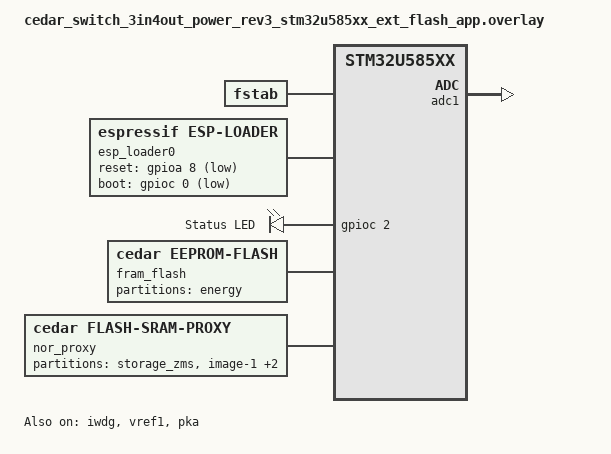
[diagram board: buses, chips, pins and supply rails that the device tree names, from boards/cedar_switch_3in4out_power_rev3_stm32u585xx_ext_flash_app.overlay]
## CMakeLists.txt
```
# SPDX-License-Identifier: Apache-2.0

cmake_minimum_required(VERSION 3.20.0)

#set(BOARD cedar_switch_3in4out_power_rev3/stm32u585xx)
#set(DTC_OVERLAY_FILE /Volumes/LocalData/Programming/CLionProjects/cedar_switch_3i3o_power/boards/cedar_switch_3in4out_power_rev3.overlay)
#add_compile_definitions(CHIP_PROJECT_CONFIG_INCLUDE=</Volumes/LocalData/Programming/CLionProjects/cedar_switch_3i3o_power/src/CHIPProjectConfig.h>)


#list(APPEND BOARD_ROOT ${CMAKE_CURRENT_SOURCE_DIR})

#list(APPEND CHIP_GN_ARGS "chip_skip_app_specific_generated_header_includes=true")
#list(APPEND CHIP_GN_ARGS "chip_device_config_dynamic_endpoint_count=8")

# 2. Добавляем флаги компиляции для твоего приложения (как в твоем примере для ESP)
#add_compile_definitions(CHIP_CONFIG_SKIP_APP_SPECIFIC_GENERATED_HEADER_INCLUDES=1)

# Matter (connectedhomeip) берём из west-воркспейса: <workspace>/modules/lib/matter.
# Корень воркспейса вычисляется из ZEPHYR_BASE (<workspace>/zephyr), без жёстких путей.
# Переопределить можно через -DCHIP_ROOT=<path> или переменную окружения CHIP_ROOT.
# Должно выполняться до find_package(Zephyr), иначе chip-module не подхватится.
if(NOT DEFINED CHIP_ROOT)
    if(DEFINED ENV{CHIP_ROOT})
        set(CHIP_ROOT $ENV{CHIP_ROOT})
    elseif(DEFINED ENV{ZEPHYR_BASE})
        get_filename_component(WEST_TOPDIR $ENV{ZEPHYR_BASE} DIRECTORY)
        set(CHIP_ROOT ${WEST_TOPDIR}/modules/lib/matter)
    else()
        message(FATAL_ERROR "Не задан ни CHIP_ROOT, ни ZEPHYR_BASE. Собирайте через `west build`.")
    endif()
endif()
get_filename_component(CHIP_ROOT "${CHIP_ROOT}" ABSOLUTE)
if(NOT EXISTS ${CHIP_ROOT}/config/zephyr/chip-module/zephyr/module.yml)
    message(FATAL_ERROR "Matter не найден в CHIP_ROOT=${CHIP_ROOT}. Выполните `west update`.")
endif()

list(APPEND ZEPHYR_EXTRA_MODULES ${CHIP_ROOT}/config/zephyr/chip-module)

# Модули приложения внутри репозитория (modules/<name>, у каждого zephyr/module.yml).
# Zephyr сам находит только модули из west-манифеста, поэтому регистрируем явно.
# Должно выполняться до find_package(Zephyr).
list(APPEND ZEPHYR_EXTRA_MODULES
    ${CMAKE_CURRENT_SOURCE_DIR}/modules/settings-registry # Generic per-key settings store over Zephyr Settings (CONFIG_SETTINGS_REGISTRY)
    ${CMAKE_CURRENT_SOURCE_DIR}/modules/job-manager       # Lifecycle and idempotency for long-running web API operations (CONFIG_JOB_MANAGER)
    ${CMAKE_CURRENT_SOURCE_DIR}/modules/device-config-store # Durable, transactional configuration with committed/pending generations (CONFIG_DEVICE_CONFIG_STORE)
    ${CMAKE_CURRENT_SOURCE_DIR}/modules/api-validation  # Shared error codes, rejections and strict parsers for the web API (CONFIG_API_VALIDATION)
    ${CMAKE_CURRENT_SOURCE_DIR}/modules/network-manager  # Validate/journal/apply/confirm transaction for the network configuration (CONFIG_NETWORK_MANAGER)
    ${CMAKE_CURRENT_SOURCE_DIR}/modules/web-auth         # Local administrator: setup, sessions, CSRF, guessing limit (CONFIG_WEB_AUTH)
    ${CMAKE_CURRENT_SOURCE_DIR}/modules/web-api          # API v1 request pipeline, strict JSON, HTTP server adapter (CONFIG_WEB_API)
    ${CMAKE_CURRENT_SOURCE_DIR}/modules/web-assets       # Browser application from flash: MIME, ETag, gzip, cache (CONFIG_WEB_ASSETS)
    ${CMAKE_CURRENT_SOURCE_DIR}/modules/matter-service   # Matter snapshot and commissioning window requests for the web API (CONFIG_MATTER_SERVICE)
    ${CMAKE_CURRENT_SOURCE_DIR}/modules/log-store        # Bounded STM32 and ESP32 log rings, cursor, filters, export (CONFIG_LOG_STORE)
    ${CMAKE_CURRENT_SOURCE_DIR}/modules/zephyr-log-source # Zephyr log backend into log-store (CONFIG_ZEPHYR_LOG_SOURCE)
    ${CMAKE_CURRENT_SOURCE_DIR}/modules/esp32-log-source # C6 UART bytes into log lines (CONFIG_ESP32_LOG_SOURCE)
    ${CMAKE_CURRENT_SOURCE_DIR}/modules/coprocessor-manager # Owner of USART3 and EN/BOOT, UART modes and exclusion (CONFIG_COPROCESSOR_MANAGER)
    ${CMAKE_CURRENT_SOURCE_DIR}/modules/firmware-store   # Staged coprocessor image in LittleFS: chunks, recovery, merged-file check (CONFIG_FIRMWARE_STORE)
    ${CMAKE_CURRENT_SOURCE_DIR}/modules/esp-loader-adapter # esp-serial-flasher session with guaranteed UART/strap cleanup (CONFIG_ESP_LOADER_ADAPTER)
    ${CMAKE_CURRENT_SOURCE_DIR}/modules/coprocessor-updater # UART install of the C6 image as one job, journal, health (CONFIG_COPROCESSOR_UPDATER)
    ${CMAKE_CURRENT_SOURCE_DIR}/modules/system-image-store # STM32 image straight into MCUboot slot 2, MCUboot image check (CONFIG_SYSTEM_IMAGE_STORE)
    ${CMAKE_CURRENT_SOURCE_DIR}/modules/system-updater   # STM32 install through the MCUboot swap, journal, self-confirmation (CONFIG_SYSTEM_UPDATER)
    ${CMAKE_CURRENT_SOURCE_DIR}/modules/psa-driver-stm32 # STM32 PKA: P-256 on the public key accelerator, PSA driver (CONFIG_STM32_PKA)
    ${CMAKE_CURRENT_SOURCE_DIR}/modules/flash-sram-proxy # SPI NOR access from an SRAM thread through an SRAM buffer, for SPI1 DMA (CONFIG_FLASH_SRAM_PROXY)
    ${CMAKE_CURRENT_SOURCE_DIR}/modules/energy-meter     # HLW8032 on USART2, the energy counter in ZMS on the FRAM (CONFIG_ENERGY_METER)
)

# CHIP (src/platform/Zephyr/CHIPDevicePlatformConfig.h) делает #include "autoconf.h",
# а новый Zephyr генерирует его как generated/zephyr/autoconf.h. Отдаём этот каталог
# только GN-сборке CHIP (MATTER_CFLAGS наследуется chip-module через add_subdirectory),
# чтобы не включать глобальный CONFIG_LEGACY_GENERATED_INCLUDE_PATH.
list(APPEND MATTER_CFLAGS "-isystem${CMAKE_BINARY_DIR}/zephyr/include/generated/zephyr")

find_package(Zephyr REQUIRED HINTS $ENV{ZEPHYR_BASE})
project(cedar_switch_3in4out_power)

include(${CHIP_ROOT}/src/app/chip_data_model.cmake)


zephyr_include_directories(
        src
#        src/matter
#        src/app-firmware-updater/*.c
)

# CHIP-заголовки, подключаемые из src/matter/*.cpp, делают #include "autoconf.h"
# (см. MATTER_CFLAGS выше — там то же самое для GN-сборки libCHIP). Только для app.
target_include_directories(app SYSTEM PRIVATE ${ZEPHYR_BINARY_DIR}/include/generated/zephyr)

# add al files by mask
file(GLOB app_sources
        src/lib-init/*.c
        src/config/*.c
    )

target_sources(app PRIVATE
        src/main.c
        src/test_functions.c # to delete
        src/littlefs/filesystem_helpers.c
        src/zbus_topics.c
        src/msgq_topiks.c
        src/web/web_server.c
        src/web/api/v1/router.c
        src/web/api/v1/auth.c
        src/web/api/v1/system.c
        src/web/api/v1/matter.c
        src/web/api/v1/network.c
        src/web/api/v1/logs.c
        src/web/api/v1/coprocessor.c
        src/web/api/v1/firmware.c
        src/web/api/v1/system_update.c
        src/mqtt/ha_mqtt.c
        src/mqtt/ha_mqtt_callback.c
        src/mqtt/ha_mqtt_helpers.c
        src/mqtt/ha_mqtt_adapter.c
        src/mqtt/ha_task.c
        src/littlefs/littlefs_mount.c
        src/io/io.c
        src/io/status_led.c
        src/mqtt/mqtt_settings_keys.c
        src/diagnostic/diag_report.c
        src/diagnostic/storage_bench.c
        src/diagnostic/coredump_support.c
        src/diagnostic/xip_bus_test.c
        src/diagnostic/vdd_monitor.c
        src/diagnostic/lfs_bench.c
        src/plugin_wifi/wifi.c
        src/plugin_wifi/wifi_shell.c
        src/app-firmware-updater/firmware_updater.c
        src/app-firmware-updater/firmware_updater_shell.c
        src/helpers/memory.c
        src/events/events.c
        src/matter/matter_init.cpp
        src/matter/matter_service_chip.cpp
        src/matter/matter_event_loop.cpp
        src/matter/shell.cpp
        src/matter/crypto_bench.cpp
        src/matter/clusters/IdentifyCluster.cpp
        src/matter/clusters/NetworkCommissioningCluster.cpp
#        src/lib-init/net_init.c
        ${app_sources}
#        /Users/kiro/zephyrproject/modules/hal/stm32/stm32cube/stm32u5xx/drivers/src/stm32u5xx_hal_icache.c
)

# Network service (P4): adapter, store, recovery rule and worker.
add_subdirectory(src/services/network)
# Coprocessor service (P5): USART3 owner's platform, CDC passthrough, ESP32 logs.
add_subdirectory(src/services/coprocessor)
# System service (STM32 update): MCUboot slots, reset cause, IWDG, `sysupd` shell.
add_subdirectory(src/services/system)

#chip_configure_data_model(app
#        ZAP_FILE ${CHIP_ROOT}/examples/chef/devices/rootnode_onoffpluginunit_Wtf8ss5EBY.zap
#)

chip_configure_data_model(app
        ZAP_FILE ${CMAKE_CURRENT_SOURCE_DIR}/src/matter/cedar_switch_4relay.zap
        IDL ${CMAKE_CURRENT_SOURCE_DIR}/src/matter/cedar_switch_4relay.matter
        ZCL_PATH ${CHIP_ROOT}/src/app/zap-templates/zcl/zcl.json
)
# Include dir with generated files
set(gen_dir ${ZEPHYR_BINARY_DIR}/include/generated)

# ------------------ Browser application and revision ------------------
# The frontend is built by npm (src/web/frontend, `npm ci && npm run build`)
# and embedded here: tools/web-assets/gen_web_assets.py turns dist/ into a C
# table at build time - the file list is read when the command runs, not when
# CMake configures - and fails the build over the plan's 512 KiB gzip budget.
# A firmware build does not run npm itself: without a built frontend it stops
# and says how to get one, or embeds a placeholder page when asked to.
#
# Both knobs are read with zephyr_get(), so they can be given as -D, as an
# environment variable, or through sysbuild as -D<image>_<name> - sysbuild copies
# its cache into the image's with the prefix intact, and plain option() would
# not see it:
#   APP_WEB_UI_PLACEHOLDER  embed a placeholder page instead of the frontend
#   APP_WEB_DIST            a built frontend somewhere other than the default
zephyr_get(APP_WEB_UI_PLACEHOLDER SYSBUILD LOCAL)
zephyr_get(APP_WEB_DIST SYSBUILD LOCAL)
if(NOT APP_WEB_DIST)
    set(APP_WEB_DIST ${CMAKE_CURRENT_SOURCE_DIR}/src/web/frontend/dist)
endif()
if(APP_WEB_UI_PLACEHOLDER)
    set(web_dist ${CMAKE_CURRENT_SOURCE_DIR}/tools/web-assets/placeholder)
elseif(EXISTS ${APP_WEB_DIST}/index.html)
    set(web_dist ${APP_WEB_DIST})
else()
    message(FATAL_ERROR
        "No built frontend in ${APP_WEB_DIST}.\n"
        "Build it:  cd src/web/frontend && npm ci && npm run build\n"
        "or configure with -DAPP_WEB_UI_PLACEHOLDER=ON for firmware without the interface.")
endif()

set(app_gen_dir ${CMAKE_BINARY_DIR}/generated/app)
set(web_assets_c ${app_gen_dir}/web_assets_data.c)
set(web_assets_manifest ${app_gen_dir}/web_assets_manifest.json)
set(web_assets_gen ${CMAKE_CURRENT_SOURCE_DIR}/tools/web-assets/gen_web_assets.py)
set(web_assets_depends ${web_assets_gen} ${web_dist}/index.html)
if(EXISTS ${web_dist}/.cedar-build.json)
    list(APPEND web_assets_depends ${web_dist}/.cedar-build.json)
endif()
add_custom_command(
    OUTPUT ${web_assets_c} ${web_assets_manifest}
    COMMAND ${PYTHON_EXECUTABLE} ${web_assets_gen}
            --dist ${web_dist}
            --out-c ${web_assets_c}
            --out-manifest ${web_assets_manifest}
            --budget-kib 512
    DEPENDS ${web_assets_depends}
    COMMENT "Embedding the browser application from ${web_dist}"
    VERBATIM
)
target_sources(app PRIVATE ${web_assets_c})

set(cedar_version_h ${app_gen_dir}/cedar_version.h)
add_custom_target(cedar_version
    COMMAND ${CMAKE_COMMAND} -DAPP_DIR=${CMAKE_CURRENT_SOURCE_DIR} -DOUT=${cedar_version_h}
            -P ${CMAKE_CURRENT_SOURCE_DIR}/cmake/cedar_version.cmake
    BYPRODUCTS ${cedar_version_h}
    COMMENT "Recording the application revision"
)
add_dependencies(app cedar_version)
target_include_directories(app PRIVATE ${app_gen_dir})
# ------------------ Browser application and revision END ------------------

generate_inc_file_for_target(
        app
        src/app-firmware-updater/globalsign_r1.der
        ${gen_dir}/globalsign_r1.der.inc
)

zephyr_linker_sources(SECTIONS sections-rom.ld)

# ------------------ PSRAM (OCTOSPI2, окно 0x70000000, регион линкера PSRAM) ------------------
# MCUboot поднимает PSRAM и оставляет её в memory-mapped режиме до прыжка в приложение,
# поэтому .data/.bss/.noinit можно линковать туда штатным zephyr_code_relocate():
# копирование .data и обнуление .bss выполняются в z_prep_c() (arch/common/xip.c, init.c),
# когда окно уже доступно. В SRAM остаются ядро (_kernel, стеки ISR/main/idle, sysworkq),
# arch, драйверы прерываний/таймера/UART (async UART работает через DMA), USB.
if(CONFIG_CODE_DATA_RELOCATION)
    foreach(lib
            app                     # приложение + Matter-исходники из chip_data_model
            subsys__net__ip         # пулы net_pkt/net_buf, очередь net_mgmt, стеки RX/TX
            subsys__net             # сокеты, TLS-контексты
            subsys__net__conn_mgr
            subsys__net__lib__dns
            subsys__net__lib__http
            subsys__fs              # littlefs: кеши файлов, read/prog-буферы
            subsys__zbus)
        if(TARGET ${lib})
            zephyr_code_relocate(LIBRARY ${lib} LOCATION PSRAM_DATA_BSS_NOINIT NOKEEP)
        endif()
    endforeach()
    zephyr_code_relocate(FILES
            ${ZEPHYR_BASE}/subsys/logging/log_core.c                # буфер deferred-логов
            # malloc.c (арена malloc Matter и mbedTLS) — в SRAM с 2026-09-15: остаток SRAM
            # после _end (CONFIG_COMMON_LIBC_MALLOC_ARENA_SIZE=-1), reports/p3/tuning/sram
            ${ZEPHYR_BASE}/kernel/mempool.c                         # куча k_malloc
            ${ZEPHYR_BASE}/drivers/flash/flash_shell.c
            LOCATION PSRAM_DATA_BSS_NOINIT NOKEEP)
endif()
# ------------------ SRAM: горячий код криптографии сопряжения Matter ------------------
# 2026-09-15, по решению владельца (reports/p3/tuning/sram): SPAKE2+, ECDSA, ECDH, SHA-256,
# AES-CCM исполняются из SRAM, а не XIP из внешней флеши через ICACHE. Штатный
# zephyr_code_relocate(RAM_TEXT); MPU-регион RX — CONFIG_CODE_DATA_RELOCATION_SRAM.
# core/psa_crypto*.c gen_relocate_app.py не находит (каталог core, объект в tfpsacrypto.dir) —
# слой диспетчеризации PSA остаётся во флеше; проверять размещение в zephyr.map.
if(CONFIG_CODE_DATA_RELOCATION_SRAM AND CONFIG_TF_PSA_CRYPTO_BUILTIN)
    set(tfpsa ${CONFIG_TF_PSA_CRYPTO_MODULE_DIR})
    set(crypto_hot
            ${tfpsa}/drivers/builtin/src/bignum.c
            ${tfpsa}/drivers/builtin/src/bignum_core.c
            ${tfpsa}/drivers/builtin/src/bignum_mod.c
            ${tfpsa}/drivers/builtin/src/bignum_mod_raw.c
            ${tfpsa}/drivers/builtin/src/ecp.c
            ${tfpsa}/drivers/builtin/src/ecp_curves.c
            ${tfpsa}/drivers/builtin/src/ecp_curves_new.c
            ${tfpsa}/drivers/builtin/src/ecdsa.c
            ${tfpsa}/drivers/builtin/src/sha256.c
            ${tfpsa}/drivers/builtin/src/aes.c
            ${tfpsa}/drivers/builtin/src/ccm.c
            ${tfpsa}/drivers/builtin/src/block_cipher.c
            ${tfpsa}/drivers/builtin/src/psa_crypto_ecp.c
            ${tfpsa}/drivers/builtin/src/psa_crypto_hash.c
            ${tfpsa}/drivers/builtin/src/psa_crypto_mac.c
            ${tfpsa}/drivers/builtin/src/psa_crypto_aead.c
            ${tfpsa}/drivers/builtin/src/psa_util_internal.c
            ${tfpsa}/extras/md.c
            ${tfpsa}/utilities/constant_time.c
            ${tfpsa}/platform/platform_util.c)
    if(CONFIG_MBEDTLS_PSA_P256M_DRIVER_ENABLED)
        list(APPEND crypto_hot
                ${tfpsa}/drivers/p256-m/p256-m/p256-m.c
                ${tfpsa}/drivers/p256-m/p256-m_driver_entrypoints.c)
    endif()
    zephyr_code_relocate(FILES ${crypto_hot} LOCATION RAM_TEXT NOKEEP)
endif()

# ------------------ SRAM: путь SPI NOR (SPI1 + DMA) ------------------
# 2026-09-19 (reports/littlefs-speed): мелкая операция с NOR через DMA стоила ~0,8 мс —
# настройка DMA, прерывание, пробуждение на каждый участок (команда, данные), всё XIP.
# Код SPI-драйвера, DMA-драйвера, spi_nor и прослойки — в SRAM. Проверять в zephyr.map.
if(CONFIG_CODE_DATA_RELOCATION_SRAM AND CONFIG_SPI_STM32_DMA)
    zephyr_code_relocate(FILES
            ${ZEPHYR_BASE}/drivers/spi/spi_stm32.c
            ${ZEPHYR_BASE}/drivers/dma/dma_stm32u5.c
            ${ZEPHYR_BASE}/drivers/flash/spi_nor.c
            LOCATION RAM_TEXT NOKEEP)
endif()

# .bss/.noinit библиотек, объектники которых gen_relocate_app.py не находит или путает:
# settings_registry, esp_hosted_mcu (+_core, SPI без DMA), модули приложения из modules/.
# libCHIP.a и libtfpsacrypto.a остаются в SRAM (горячие при сопряжении).
zephyr_linker_sources(SECTIONS src/helpers/psram_sections.ld)

zephyr_linker_section(NAME http_resource_desc_http_service
        KVMA RAM_REGION GROUP RODATA_REGION)

# Линкуем Matter (CHIP) к твоему приложению
target_link_libraries(app PUBLIC chip)

# Перенос драйвера прерываний и работы с UART в оперативную память (SRAM)
#zephyr_code_relocate(FILES ${ZEPHYR_BASE}/drivers/serial/uart_stm32.c LOCATION RAM)
#zephyr_code_relocate(FILES ${ZEPHYR_BASE}/subsys/shell/shell.c LOCATION RAM)

# XIP write/erase support.
# Relocate the OSPI flash driver and STM32 HAL OSPI to SRAM so they can
# execute when the QSPI controller is in indirect (non-memory-mapped) mode.
# The ARM MPU automatically grants RX permissions to relocated text
# (CONFIG_CODE_DATA_RELOCATION_SRAM in arm_core_mpu.c).
#
# IMPORTANT: ISR handlers that reside in QSPI will hard-fault if they fire
# during a write/erase operation (irq_lock() is held for the duration).
# For erase operations (up to ~400 ms per sector), stop all interrupt-driven
# peripherals (networking, USB, etc.) before calling flash_erase().
#zephyr_code_relocate(
#    FILES ${ZEPHYR_BASE}/drivers/flash/flash_stm32_ospi.c
#    LOCATION RAM)
#zephyr_code_relocate(
#    FILES ${ZEPHYR_HAL_STM32_MODULE_DIR}/stm32cube/stm32u5xx/drivers/src/stm32u5xx_hal_ospi.c
#    LOCATION RAM)
#
#zephyr_code_relocate(
#        FILES ${ZEPHYR_HAL_STM32_MODULE_DIR}/stm32cube/stm32u5xx/drivers/src/stm32u5xx_hal_ospi.c
#        LOCATION RAM)
```

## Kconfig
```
# menu "REST API options"
#
# config REST_CORS_ENABLE
#     bool "Enable CORS for REST endpoints"
#     default n
#     help
#       If enabled, the HTTP server will include CORS headers and handle
#       preflight OPTIONS requests.
#
# config REST_CORS_ORIGIN
#     string "Access-Control-Allow-Origin value"
#     depends on REST_CORS_ENABLE
#     default "*"
#     help
#       Value for the Access-Control-Allow-Origin header. Use "*" to allow all,
#       or set to a specific origin like "http://mydevice.local".
#
# config REST_CORS_ALLOW_HEADERS
#     string "Access-Control-Allow-Headers value"
#     depends on REST_CORS_ENABLE
#     default "Content-Type"
#     help
#       Comma-separated list of allowed headers in CORS requests.
#
# config REST_CORS_ALLOW_METHODS
#     string "Access-Control-Allow-Methods value"
#     depends on REST_CORS_ENABLE
#     default "GET, POST, OPTIONS"
#     help
#       Comma-separated list of allowed HTTP methods.
#
# endmenu

# STM32 PKA PSA driver (modules/psa-driver-stm32): TF-PSA-Crypto takes its driver
# dispatch from this directory. The symbol has no prompt, so the default must be
# defined before Kconfig.zephyr (the first defined default wins).
config TF_PSA_CRYPTO_DISPATCH_DIR
	string
	default "$(APP_DIR)/modules/psa-driver-stm32/dispatch" if PSA_CRYPTO_DRIVER_STM32_PKA

menu "STM32 firmware update (src/services/system)"

config APP_IWDG
	bool "Start and feed the independent watchdog"
	depends on WATCHDOG
	help
	  The board's service starts the IWDG from its own cooperative thread
	  and feeds it; a hang, an IRQ lock or a cooperative thread that does
	  not yield resets the board, and MCUboot reverts a new image that was
	  not yet confirmed (reports/stm32-update).

config APP_IWDG_TIMEOUT_MS
	int "IWDG timeout (ms)"
	depends on APP_IWDG
	default 20000
	range 1000 26214

endmenu

source "Kconfig.zephyr"
```

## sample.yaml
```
sample:
  description: A basic demo to showcase multi-threading using K_THREAD_DEFINE
  name: Basic Thread Demo
tests:
  sample.basic.threads:
    tags:
      - kernel
      - threads
      - gpio
    filter: dt_enabled_alias_with_parent_compat("led0", "gpio-leds") and
            dt_enabled_alias_with_parent_compat("led1", "gpio-leds")
    integration_platforms:
      - air_quality_sensor_f412ce/stm32f412cx
    depends_on: gpio
    harness: console
    harness_config:
      type: multi_line
      ordered: false
      regex:
        - "Toggled led0; counter=(.*)"
        - "Toggled led1; counter=(.*)"
```

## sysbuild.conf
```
# Sysbuild: MCUboot во внутренней flash + приложение во внешней QSPI (ext_flash_app).
SB_CONFIG_BOOTLOADER_MCUBOOT=y

# slot0 — внешняя QSPI (4 МБ), slot1 и scratch — SPI NOR (см. ext_flash_app.dts).
# Тот же режим, что был в рабочем загрузчике cedar_switch_3i4o_power_bootloader.
SB_CONFIG_MCUBOOT_MODE_SWAP_SCRATCH=y

# Без подписи (только hash TLV), как в прежнем загрузчике: совместимо с уже
# опубликованными OTA-образами zephyr.signed.bin.
SB_CONFIG_BOOT_SIGNATURE_TYPE_NONE=y
```

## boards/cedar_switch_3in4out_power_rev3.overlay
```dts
/*
 * Relay outputs are active high (ULN2003 inputs, high = coil on); the board's
 * common DTS says GPIO_ACTIVE_LOW. Same override as the ext_flash_app overlay.
 */
&relay_ac1 {
	gpios = <&gpioa 5 GPIO_ACTIVE_HIGH>;
};

&relay_ac2 {
	gpios = <&gpioc 4 GPIO_ACTIVE_HIGH>;
};

&relay_ac3 {
	gpios = <&gpioc 5 GPIO_ACTIVE_HIGH>;
};

&relay_ac4 {
	gpios = <&gpiob 2 GPIO_ACTIVE_HIGH>;
};

&clk_msis {
	status = "disabled";
	msi-range = <4>;
	msi-pll-mode;
};

&pll1 {
	div-m = <5>;
	mul-n = <64>;
	div-q = <2>;
	div-r = <2>;
	div-p = <2>;
	clocks = <&clk_hse>;
	status = "okay";
};

&pll2 {
	status = "okay";
	clocks = <&clk_hse>;
	div-m = <5>;
	mul-n = <96>;
	div-p = <2>;
	div-q = <10>;
	div-r = <2>;
};
```

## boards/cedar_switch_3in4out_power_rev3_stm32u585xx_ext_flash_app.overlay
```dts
/ {
	chosen {
		/* Settings in ZMS on the 6 MB partition at offset 0 (see prj.conf) */
		zephyr,settings-partition = &storage_zms_partition;
		/* HLW8032 energy meter, modules/energy-meter */
		cedar,hlw8032-uart = &usart2;
	};

	fstab {
		compatible = "zephyr,fstab";

		lfs0: lfs0 {
			compatible = "zephyr,fstab,littlefs";
			mount-point = "/lfs";
			partition = <&storage_partition>;
			automount;
			read-size = <256>;
			prog-size = <256>;
			/* 4096 (a whole block) since 2026-09-19: the image store's metadata save
			 * (tmp + sync + rename) 83 -> 32 ms, rename 75 -> 23 ms (reports/littlefs-speed).
			 * Every open file takes this much from FS_LITTLEFS_FC_HEAP_SIZE (prj.conf). */
			cache-size = <4096>;
			/* 256 B = 2048 blocks, more than the partition's 1280; 512 measured the same */
			lookahead-size = <256>;
			block-cycles = <1024>;
		};
	};
};

/*
 * USART3 has one owner, coprocessor-manager (src/services/coprocessor): the
 * console for ESP32 logs, a passthrough to cdc_acm_uart0, or the flasher. The
 * board's Zephyr bridge would take the UART's interrupt at init and can only be
 * stopped through device PM, so it is off (plan section 3, reports/p5).
 */
&{/uart-bridge0} {
	status = "disabled";
};

/*
 * The 8-byte receive FIFO: without it one byte waits in RDR for the next and is
 * lost if USART3's interrupt comes more than ~87 us late at 115200. Attempt 7
 * (reports/p6 hw/logs/14) caught a ROM answer to FLASH_DATA one byte short while
 * the CPU was 97 % busy; with the FIFO the interrupt may be ~700 us late.
 */
&usart3 {
	fifo-enable;
};

/*
 * esp-serial-flasher's target: the same USART3, EN (PA8) and BOOT strap (PC0)
 * that tests/esp_loader_integration proved on both boards. Stays at 115200
 * until the first flash through the web is accepted (owner's decision №7).
 *
 * zephyr,deferred-init: the library's device init would run esp_loader_init_serial()
 * at boot - tty_serial's handler on USART3 with its receive interrupt enabled and
 * nobody reading. An unflashed C6's ROM output fills the 512-byte ring, and the
 * handler then writes "~" per dropped byte from the ISR with K_FOREVER into a
 * transmit ring nobody drains: board B hung at boot (reports/p6, hw/logs/02).
 * The device is never initialised through the kernel; esp-loader-adapter runs the
 * port's init itself in `flashing`, right before connect, and deinit after.
 */
/ {
	esp_loader0: esp_loader {
		compatible = "espressif,esp-loader";
		uart = <&usart3>;
		reset-gpios = <&gpioa 8 GPIO_ACTIVE_LOW>;
		boot-gpios = <&gpioc 0 GPIO_ACTIVE_LOW>;
		default-baudrate = <115200>;
		higher-baudrate = <0>;
		num-trials = <10>;
		sync-timeout-ms = <100>;
		zephyr,deferred-init;
		status = "okay";
	};

	chosen {
		zephyr,esp-loader = &esp_loader0;
	};
};

/*
 * Independent watchdog for the STM32 update (owner's decision 2026-09-15): a new
 * image that hangs is reset and MCUboot reverts it. Started and fed by
 * src/services/system; the application only, MCUboot does not enable it.
 */
&iwdg {
	status = "okay";
};

/*
 * Relay outputs are active high: the pins drive ULN2003 inputs and a high input
 * energises the coil (reports/p0 finding 4, confirmed on board A's LEDs). The
 * board's common DTS says GPIO_ACTIVE_LOW, which turned a relay off when Matter
 * or the API switched it on, kept the coils energised while "off" and flipped
 * every relay twice on each reset. gpio-leds drives these to the inactive level
 * (low, coil off) at init.
 */
&relay_ac1 {
	gpios = <&gpioa 5 GPIO_ACTIVE_HIGH>;
};

&relay_ac2 {
	gpios = <&gpioc 4 GPIO_ACTIVE_HIGH>;
};

&relay_ac3 {
	gpios = <&gpioc 5 GPIO_ACTIVE_HIGH>;
};

&relay_ac4 {
	gpios = <&gpiob 2 GPIO_ACTIVE_HIGH>;
};

/*
 * PKA (public key accelerator): upstream stm32u5.dtsi has no node yet (STM32WBA
 * one is in zephyrproject-rtos/zephyr#116564). Binding st,stm32-pka and the driver:
 * modules/psa-driver-stm32. PKA_BASE_NS = AHB2PERIPH_BASE_NS + 0xA2000, PKAEN is
 * RCC_AHB2ENR1 bit 19, PKA_IRQn 97 (stm32u585xx.h).
 */
&{/soc} {
	pka: pka@420c2000 {
		compatible = "st,stm32-pka";
		reg = <0x420c2000 0x2000>;
		clocks = <&rcc STM32_CLOCK(AHB2, 19)>;
		interrupts = <97 0>;
		status = "okay";
	};
};

&clk_msis {
	status = "disabled";
	msi-range = <4>;
	msi-pll-mode;
};

&pll1 {
	div-m = <5>;
	mul-n = <64>;
	div-q = <2>;
	div-r = <2>;
	div-p = <2>;
	clocks = <&clk_hse>;
	status = "okay";
};

&pll2 {
	status = "okay";
	clocks = <&clk_hse>;
	div-m = <5>;
	mul-n = <96>;
	div-p = <2>;
	div-q = <10>;
	div-r = <2>;
};

/*
 * Zephyr's coredump (prj.conf, owner's decisions 2026-09-18): THREADS level into the
 * STM32U585's internal flash, right after MCUboot's 128 KiB. The application runs
 * from the OSPI flash and never from here, so writing it from a fault touches
 * neither the code nor a shared bus, and Zephyr's flash-partition backend takes it
 * as it is (flash0 has write-block-size 16, erase-block-size 8 KiB). 256 KiB:
 * every thread's stack together is ~110 KiB. The backend finds it by the node
 * label coredump_partition.
 */
&flash0 {
	partitions {
		coredump_partition: partition@20000 {
			label = "coredump";
			reg = <0x00020000 DT_SIZE_K(256)>;
		};
	};
};

/*
 * VDDA through VREFINT and its factory calibration (src/diagnostic/vdd_monitor.c,
 * owner's request 2026-09-19: are the resets supply dips?). On this board VDDA is
 * tied straight to VDD, the LDO output. ADC1 is clocked from HCLK (160 MHz) / 4 =
 * 40 MHz, under the 55 MHz limit; the vref driver samples with the longest time
 * (814 cycles, ~20 us), well above VREFINT's minimum.
 */
&adc1 {
	st,adc-prescaler = <4>;
	status = "okay";
};

&vref1 {
	status = "okay";
};

/*
 * Status LED on PC2 (owner, 2026-09-19): blinks while the firmware runs
 * (src/io/status_led.c). Its polarity does not matter for a blink.
 */
/ {
	status-leds {
		compatible = "gpio-leds";

		status_led: status_led {
			gpios = <&gpioc 2 GPIO_ACTIVE_HIGH>;
			label = "Status LED";
		};
	};
};

/*
 * SPI1 (SPI NOR + FRAM only) with DMA (owner, 2026-09-19, reports/littlefs-speed):
 * raw NOR reads went from 240 KB/s (polling) to 3.6 MB/s in 4 KiB pieces. SPI1 has
 * requests only on GPDMA1 (LPDMA1 serves SPI3 only): SPI1_RX = 6, SPI1_TX = 7
 * (LL_GPDMA1_REQUEST_SPI1_*). Channels 10 and 11: linear channels (0-11, 8-byte
 * FIFO; 12-15 are the 2D ones), not used by anything else here. The SPI driver
 * with DCACHE accepts DMA buffers only in SRAM, so the NOR is reached through
 * nor_proxy below. The FRAM on the same bus has no proxy: read it only from a
 * thread whose stack is in SRAM into an SRAM buffer - from a PSRAM stack the SPI
 * driver returns -ENOTSUP. Nothing in the application uses the FRAM today (the MAC
 * comes from the I2C EEPROM at 0x50, src/lib-init/net_init.c).
 *
 * Checked against ST AN5593 (GPDMA, rev 9, table 24 and 2.2-2.4) and the channel
 * registers on the board: linear channels with the 2-word FIFO, requests 7/6, the
 * peripheral on port 0 - as recommended. Priority 2 (weighted, "high") as the note
 * recommends for peripherals (0 was the default). Two differences come from the Zephyr
 * drivers, not from here: the U5 DMA driver leaves the memory side on port 0 too
 * (AN5593: port 1), and spi_stm32 moves 8-bit frames as 8-bit beats (AN5593: 32-bit on
 * the SPI side); both cost only bus cycles (reports/littlefs-speed).
 */
&spi1 {
	dmas = <&gpdma1 10 7 (STM32_DMA_PERIPH_TX | STM32_DMA_PRIORITY_HIGH)>,
	       <&gpdma1 11 6 (STM32_DMA_PERIPH_RX | STM32_DMA_PRIORITY_HIGH)>;
	dma-names = "tx", "rx";
};

/*
 * The FRAM is an MB85RS64V (RDID 04 7F 03 02), rated for 20 MHz. The board's 60 MHz
 * gave 40 MHz on the bus (PCLK2 160 MHz / 4); 20 MHz is PCLK2 / 8 exactly.
 */
&fram0 {
	spi-max-frequency = <20000000>;
};

/*
 * The FRAM through the flash API for the energy counter's own ZMS (only the energy
 * lives there; settings stay on the NOR). modules/energy-meter, reports/energy.
 */
/ {
	fram_flash: fram-flash {
		compatible = "cedar,eeprom-flash";
		eeprom = <&fram0>;

		partitions {
			compatible = "fixed-partitions";
			#address-cells = <1>;
			#size-cells = <1>;

			energy_partition: partition@0 {
				label = "energy";
				reg = <0x0 0x2000>;
			};
		};
	};
};

/*
 * HLW8032: 4800 8E1 (datasheet), receive only - the board wires RX on PA3 and
 * nothing to TX. RX by DMA on GPDMA1 channel 9 (request 26 = USART2_RX; SPI1 has
 * 10 and 11), so the driver interrupts once per 24-byte frame.
 */
&usart2 {
	parity = "even";
	dmas = <&gpdma1 9 26 (STM32_DMA_PERIPH_RX | STM32_DMA_PRIORITY_HIGH)>;
	dma-names = "rx";
};

/*
 * The NOR's partitions (same offsets, sizes and labels as the board's
 * ext_flash_app.dts) move under nor_proxy (modules/flash-sram-proxy): every flash
 * area on the NOR - ZMS settings, slot 2, LittleFS, MCUboot scratch - is then read
 * and written from the proxy thread through its SRAM buffer, so the SPI DMA never
 * sees a stack or buffer in PSRAM. MCUboot is built without this overlay and keeps
 * using spi_flash directly.
 */
&spi_flash {
	/delete-node/ partitions;
};

/ {
	nor_proxy: nor-proxy {
		compatible = "cedar,flash-sram-proxy";
		backend = <&spi_flash>;

		partitions {
			compatible = "fixed-partitions";
			#address-cells = <1>;
			#size-cells = <1>;

			storage_zms_partition: partition@0 {
				label = "storage_zms";
				reg = <0x00000000 0x00600000>;
			};

			slot1_partition: partition@600000 {
				label = "image-1";
				reg = <0x00600000 0x00400000>;
			};

			storage_partition: partition@a00000 {
				label = "storage_nvs";
				reg = <0x00a00000 0x00500000>;
			};

			scratch_partition: partition@f00000 {
				label = "image-scratch";
				reg = <0x00f00000 0x00010000>;
			};
		};
	};
};
```

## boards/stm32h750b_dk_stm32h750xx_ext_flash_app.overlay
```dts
/ {

	aliases {
		wifi-reset = &green_led;
	};
};

&ethernet{
	status = "okay";

};

&mac{
	status = "okay";
};
&mdio{
	status = "okay";
};
```

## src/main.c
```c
#include <string.h>
#include <zephyr/kernel.h>
#include <zephyr/drivers/gpio.h>
#include <zephyr/usb/usb_device.h>
#include <zephyr/device.h>
#include <zephyr/drivers/flash.h>
#include <zephyr/net/net_if.h>
#include <zephyr/net/net_mgmt.h>
#include <zephyr/net/net_event.h>
#include <zephyr/net/dhcpv4.h>
#include <zephyr/fs/fs.h>
#include <zephyr/fs/littlefs.h>
#include <zephyr/storage/flash_map.h>
#include <zephyr/net/ethernet_mgmt.h>
#include <zephyr/logging/log.h>
//#include <zephyr/version.h>
#include <zephyr/drivers/entropy.h>
#include <zephyr/net/net_config.h>
#include <zephyr/logging/log_backend.h>
#include <zephyr/logging/log_backend_net.h>
#include <zephyr/logging/log_ctrl.h>
#include <zephyr/sys/reboot.h>
#include <zephyr/cache.h>

#include <job_manager/job_manager.h>
#include <settings_registry/settings_registry.h>

#include "helpers/memory.h"
#include "services/coprocessor/coprocessor_service.h"
#include "services/network/network_service.h"
#include "services/system/system_service.h"
#include "web/api/v1/web_api_v1.h"
#include "web/web_server.h"
#include "mqtt/ha_mqtt.h"
#include "io/io.h"
#include <energy_meter/energy_meter.h>
#include "littlefs/littlefs_mount.h"
#include "plugin_wifi/wifi.h"
#include "matter/matter_init.h"
#include "matter/matter_service_chip.h"

#include "test_functions.h"
#include  "diagnostic/diag_report.h"
#include "lib-init/net_init.h"

LOG_MODULE_REGISTER(main_app);

/* 1000 msec = 1 sec */
#define SLEEP_TIME_MS   1000

/* The devicetree node identifier for the "led0" alias. */
// #define LED0_NODE DT_ALIAS(led0)
//
// #define KEY1_NODE DT_NODELABEL(key1)
// static const struct gpio_dt_spec key1 = GPIO_DT_SPEC_GET(KEY1_NODE, gpios);
// static struct gpio_callback key1_cb;

//
// #define FLASH_NODE DT_NODELABEL(spi_flash)
//
// #if !DT_NODE_HAS_STATUS(FLASH_NODE, okay)
// #error "DT node 'spi_flash' not found or not okay"
// #endif
//
// #define STM32_UID_BASE  0x1FFF7A10U

// #define STORAGE_PARTITION	storage_partition
// #define STORAGE_PARTITION_ID	FIXED_PARTITION_ID(STORAGE_PARTITION)

/* Получаем numeric ID разделов из DTS по алиасам узлов fixed-partitions */
/* storage_zms: хранилище настроек ZMS (бывший storage_lfs); стирание уничтожает все настройки */
#define ZMS_PART_ID  FIXED_PARTITION_ID(storage_zms_partition)
//#define NVS_PART_ID  FIXED_PARTITION_ID(storage_partition)

//static const struct gpio_dt_spec led = GPIO_DT_SPEC_GET(LED0_NODE, gpios);




static void ipv4_addr_add_handler(struct net_mgmt_event_callback *cb,
								  uint64_t mgmt_event, struct net_if *iface)
{
	//const struct log_backend *backend = log_backend_net_get();

	//if (!log_backend_is_active(backend)) {

		/* Specifying an address by calling this function will
		 * override the value given to LOG_BACKEND_NET_SERVER.
		   It can also be called at any other time after the backend
		   is started. The net context will be released and
		   restarted with the newly specified address.
		 */
		//log_backend_net_set_addr("192.168.88.182:514");
		//log_backend_init(backend);
		//log_backend_enable(backend, backend->cb->ctx, LOG_LEVEL_DBG);
		//log_backend_net_start();
	//}


	// app_mqtt_ha_client_init();

	if (mgmt_event != NET_EVENT_IPV4_ADDR_ADD) {
		return;
	}


	// char addr_str[NET_IPV4_ADDR_LEN];
	// struct net_if_addr *ifaddr = net_if_ipv4_get_global_addr(iface, NET_ADDR_DHCP);
	// if (!ifaddr) {
	// 	ifaddr = net_if_ipv4_get_global_addr(iface, NET_ADDR_MANUAL);
	// }
	// if (ifaddr) {
	// 	net_addr_ntop(AF_INET, &ifaddr->address.in_addr, addr_str, sizeof(addr_str));
	// 	LOG_INF("IPv4 address acquired: %s", addr_str);
	// } else {
	// 	LOG_INF("IPv4 address acquired (type unknown)");
	// }
}

/* Универсальная функция стирания раздела целиком */
// static int erase_partition_by_id(uint8_t part_id)
// {
// 	const struct flash_area *fa;
// 	int rc = flash_area_open(part_id, &fa);
// 	if (rc) {
// 		LOG_ERR("flash_area_open(%u) failed: %d", part_id, rc);
// 		return rc;
// 	}
//
// 	LOG_INF("Erasing partition id=%u, offset=0x%lx, size=0x%lx",
// 			(unsigned)part_id, (unsigned long)fa->fa_off, (unsigned long)fa->fa_size);
//
// 	/* Важно: перед стиранием убедитесь, что ФС на этом разделе размонтирована,
// 	   и никакие задачи его не используют. */
//
// 	rc = flash_area_erase(fa, 0, fa->fa_size);  /* стираем ВСЮ область */
// 	flash_area_close(fa);
//
// 	if (rc) {
// 		LOG_ERR("flash_area_erase failed: %d", rc);
// 		return rc;
// 	}
//
// 	LOG_INF("Erase OK");
// 	return 0;
// }

// static void key1_pressed(const struct device *dev, struct gpio_callback *cb, uint32_t pins) {
// 	LOG_INF("Key1 pressed");
// 	sys_reboot(SYS_REBOOT_COLD);
//
// }

// static void erase_flash(void) {
// 	(void)erase_partition_by_id(ZMS_PART_ID);
// 	(void)erase_partition_by_id(NVS_PART_ID);
// 	sys_reboot(SYS_REBOOT_COLD);
// }

//#include <stm32u5xx_hal_icache.h>

/*
 * PSRAM (OCTOSPI2, окно 0x70000000) поднимает MCUboot (sysbuild/mcuboot.conf,
 * драйвер qspi-psram с chip-variant = "AUTO") и оставляет в memory-mapped
 * режиме. Здесь инициализируем внешнюю кучу helpers/memory.c поверх этого окна
 * и делаем короткий write/read тест, чтобы в логе было видно, что PSRAM
 * доступна приложению.
 */
#define PSRAM_SELFTEST_WORDS 1024U

static void psram_selftest(void)
{
	uint32_t *buf = NULL;
	uint32_t bad = 0;

	init_memory_helpers();

	buf = allocate_external_memory(PSRAM_SELFTEST_WORDS * sizeof(uint32_t));
	if (buf == NULL) {
		LOG_ERR("PSRAM: allocation from external heap failed");
		return;
	}

	for (uint32_t i = 0; i < PSRAM_SELFTEST_WORDS; i++) {
		buf[i] = 0xA5000000U ^ (i * 0x01010101U);
	}
	/* Дочитать до самой PSRAM, а не до строки D-cache */
	sys_cache_data_flush_and_invd_range(buf, PSRAM_SELFTEST_WORDS * sizeof(uint32_t));

	for (uint32_t i = 0; i < PSRAM_SELFTEST_WORDS; i++) {
		if (buf[i] != (0xA5000000U ^ (i * 0x01010101U))) {
			bad++;
		}
	}

	if (bad == 0) {
		LOG_INF("PSRAM @%p: write/read %u words OK", (void *)buf,
			PSRAM_SELFTEST_WORDS);
	} else {
		LOG_ERR("PSRAM @%p: %u of %u words mismatch", (void *)buf, bad,
			PSRAM_SELFTEST_WORDS);
	}

	free_external_memory(buf);
}

/* The coprocessor update must be requested over Ethernet (plan section 8). */
static bool request_over_ethernet(const struct web_auth_peer *local)
{
	return local != NULL && coprocessor_service_request_over_ethernet(local->family, local->addr);
}

int main(void)
{
	LOG_INF("Start main app (build: %s %s) version 8", __DATE__, __TIME__);

	psram_selftest();
	/* Reset cause and the running MCUboot image (STM32 update, reports/stm32-update). */
	system_service_start();

	/*
	 * Реестр настроек: /lfs уже смонтирован через fstab (automount), поэтому
	 * store /lfs/settings доступен. Вызываем до первых потребителей настроек
	 * (io_init и далее), чтобы RAM-зеркала ключей "reg/" были загружены.
	 */
	int err = setting_registry_init();
	if (err != 0) {
		LOG_ERR("settings registry init failed: %d", err);
	}

	io_init();
	/* HLW8032 and the energy counter on the FRAM (modules/energy-meter). */
	err = energy_meter_start();
	if (err != 0) {
		LOG_ERR("energy meter start failed: %d", err);
	}
	/* Before the network: the first IPv6 address starts the Matter stack. */
	matter_service_chip_init();
	/* Before the network too: network-manager tracks its work as jobs. */
	job_manager_init();
	/* The C6's UART and EN/BOOT: before the network service, whose apply and
	 * scan claim against the UART's owner. */
	coprocessor_service_start();
	static const struct web_api_v1_coprocessor coprocessor_hooks = {
		.firmware_version = coprocessor_service_firmware_version,
		.rx_seen = coprocessor_service_rx_seen,
		.request_over_ethernet = request_over_ethernet,
	};
	web_api_v1_set_coprocessor(&coprocessor_hooks);
	/* The upload bindings open only over a store that opened (/lfs/firmware). */
	static const struct web_api_v1_firmware firmware_hooks = {
		.now_ms = NULL,
	};
	if (coprocessor_service_firmware_ready()) {
		web_api_v1_set_firmware(&firmware_hooks);
	}
	/* The STM32 update bindings open over the slot store and the updater that
	 * system_service_start() opened (reports/stm32-update). */
	static struct web_api_v1_system system_hooks = {
		.now_ms = NULL,
	};
	if (system_service_update_ready()) {
		system_hooks.upload_max_bytes = system_service_upload_max_bytes();
		web_api_v1_set_system(&system_hooks);
	}
	/* The W5500 with its EEPROM MAC; addressing is the network service's. */
	ethernet_interfaces_init();
	network_service_start();
	static const struct web_api_v1_network network_hooks = {
		.kick = network_service_kick,
		.wifi_security_modes = network_service_wifi_security_modes,
	};
	web_api_v1_set_network(&network_hooks);
	app_web_init();

	while (1)
	{
		k_msleep(2100);
	}
	//int usb_ret = usb_enable(NULL);
	// if (!gpio_is_ready_dt(&led)) {
	// 	LOG_ERR("Error: LED device is not ready\n");
	// 	return 0;
	// }

	// ret = gpio_pin_configure_dt(&led, GPIO_OUTPUT_ACTIVE);
	// if (ret < 0) {
	// 	LOG_ERR("Error %d: failed to configure LED\n", ret);
	// 	return 0;
	// }

	// const struct device *flash = DEVICE_DT_GET(FLASH_NODE);
 //
	// if (!device_is_ready(flash)) {
	// 	LOG_ERR("SPI_FLASH not ready (probe failed or disabled)");
	// 	return 0;
	// }
 //
	// const struct flash_parameters *p = flash_get_parameters(flash);
	// if (p) {
	// 	printk("erase_value=0x%02x, write_block=%u",
	// 			p->erase_value, p->write_block_size);
	// }
 //
	// const struct device *flash_dev = DEVICE_DT_GET(DT_NODELABEL(spi_flash));
	// if (!device_is_ready(flash_dev)) {
	// 	printk("Flash device not ready\n");
	// 	return 0;
	// }
 //
 //    /* Получаем устройство энтропии, выбранное devicetree (chosen: zephyr,entropy) */
 //    const struct device *entropy = DEVICE_DT_GET(DT_CHOSEN(zephyr_entropy));
 //    if (!device_is_ready(entropy)) {
 //        LOG_ERR("Entropy device is not ready! Check your Kconfig/DTS.");
 //        return 0;
 //    }
 //
	// const struct flash_parameters *params = flash_get_parameters(flash_dev);
	// if (params) {
	// 	printk("Erase value: 0x%02x\n", params->erase_value);
	// 	printk("Write block size: %u\n", params->write_block_size);
	// }

	// if (!device_is_ready(key1.port)) {
	// 	LOG_ERR("Key1 GPIO not ready");
	// 	return 0;
	// }

	// ret = gpio_pin_configure_dt(&key1, GPIO_INPUT);
	// if (ret < 0) {
	// 	LOG_ERR("Failed to configure KEY1");
	// 	return 0;
	// }
	//
	// ret = gpio_pin_interrupt_configure_dt(&key1, GPIO_INT_EDGE_TO_INACTIVE);
	// if (ret < 0) {
	// 	LOG_ERR("Failed to set interrupt on KEY1");
	// 	return 0;
	// }
	//
	// gpio_init_callback(&key1_cb, key1_pressed, BIT(key1.pin));
	// gpio_add_callback(key1.port, &key1_cb);
	//
	// int key_state = gpio_pin_get_dt(&key1);
	//LOG_INF("KEY1 state on boot: %d", key_state);

	// if (!key_state) {
	// 	LOG_INF("KEY1 pressed — jumping to erase_flash()");
	// 	erase_flash();
	// } else {
	// 	LOG_INF("Normal boot — KEY1 not pressed");
	// }


	/* Подписка на событие получения IPv4 адреса */


	/* Включаем интерфейс по умолчанию (w5500) */
	// struct net_if *iface = net_if_get_default();
	//
	// (void)settings_subsys_init();
	// (void)settings_load();
	// (void)fs_service_init();
	// io_init();
	// energy_monitoring_init();
	//
	//
	// if (iface) {
	// 	struct ethernet_req_params mac_params = {
	// 		.mac_address.addr = { 0x02, 0x00, 0x00, 0x12, 0x34, 0x56 }
	// 	};
	//
	// 	net_if_down(iface);
	// 	ret = net_mgmt(NET_REQUEST_ETHERNET_SET_MAC_ADDRESS, iface, &mac_params, sizeof(struct ethernet_req_params));
	// 	net_if_up(iface); /* DHCP стартует автоматически при CONFIG_NET_DHCPV4=y */
	// 	(void)net_dhcpv4_start(iface);    // ЯВНО запустить DHCP
	// 	LOG_INF("Network interface up");
	// }
	//
	//
	//
	// int answ = 0;
	// answ = fs_mkdir("/lfs/test1");
	// answ = fs_mkdir("/lfs/test1/test2");
	// answ = fs_mkdir("/lfs/test1/test2/test3");
	// answ = fs_mkdir("/lfs/log");
	// //fs_delete_tree("/lfs/test1");
	//
	// fs_mkdir("/lfs/www");
	//
	// create_index_html();
	//
	// LOG_INF("answ = %d", answ);
	//
	// while (1) {
	// 	//ret = gpio_pin_toggle_dt(&led);
	// 	if (ret < 0) {
	// 		printk("Error %d: failed to toggle LED\n", ret);
	// 		return 0;
	// 	}
	//
	// 	k_msleep(SLEEP_TIME_MS);
	// }
}
```

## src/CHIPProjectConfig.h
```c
/*
 *
 *    Copyright (c) 2020 Project CHIP Authors
 *    Copyright (c) 2019 Google LLC.
 *    All rights reserved.
 *
 *    Licensed under the Apache License, Version 2.0 (the "License");
 *    you may not use this file except in compliance with the License.
 *    You may obtain a copy of the License at
 *
 *        http://www.apache.org/licenses/LICENSE-2.0
 *
 *    Unless required by applicable law or agreed to in writing, software
 *    distributed under the License is distributed on an "AS IS" BASIS,
 *    WITHOUT WARRANTIES OR CONDITIONS OF ANY KIND, either express or implied.
 *    See the License for the specific language governing permissions and
 *    limitations under the License.
 */

/**
 *    @file
 *          Example project configuration file for CHIP.
 *
 *          This is a place to put application or project-specific overrides
 *          to the default configuration values for general CHIP features.
 *
 */

#pragma once

//---------------- NEW SETTINGS -------------------------------
//#ifndef CHIP_CONFIG_MAX_FABRICS
//#define CHIP_CONFIG_MAX_FABRICS 8
//#endif

//#ifndef CHIP_SYSTEM_CONFIG_USE_ZEPHYR_SOCKET_EXTENSIONS
//#define CHIP_SYSTEM_CONFIG_USE_ZEPHYR_SOCKET_EXTENSIONS 0
//#endif

//#define INET_CONFIG_UDP_SOCKET_MREQN 1

#ifndef CHIP_DEVICE_CONFIG_ENABLE_WIFI
#define CHIP_DEVICE_CONFIG_ENABLE_WIFI 0
#endif

#ifndef CHIP_DEVICE_CONFIG_CHIP_TASK_STACK_SIZE
#define CHIP_DEVICE_CONFIG_CHIP_TASK_STACK_SIZE (16 * 1024)
#endif // CHIP_DEVICE_CONFIG_CHIP_TASK_STACK_SIZE

#ifndef CHIP_DEVICE_CONFIG_CHIP_TASK_PRIORITY
#define CHIP_DEVICE_CONFIG_CHIP_TASK_PRIORITY 14
#endif

//---------------- NEW SETTINGS -------------------------------

/**
 * @def CHIP_DEVICE_CONFIG_USE_TEST_SETUP_PIN_CODE
 *
 * @brief
 *   Test Spake2p passcode to use.
 */
#ifndef CHIP_DEVICE_CONFIG_USE_TEST_SETUP_PIN_CODE
#define CHIP_DEVICE_CONFIG_USE_TEST_SETUP_PIN_CODE 20202021
#endif

/**
 * @def CHIP_DEVICE_CONFIG_USE_TEST_SETUP_DISCRIMINATOR
 *
 * @brief
 *   Setup discriminator to use.
 */
#ifndef CHIP_DEVICE_CONFIG_USE_TEST_SETUP_DISCRIMINATOR
#define CHIP_DEVICE_CONFIG_USE_TEST_SETUP_DISCRIMINATOR 0xF00
#endif

// For convenience, Chip Security Test Mode can be enabled and the
// requirement for authentication in various protocols can be disabled.
//
//    WARNING: These options make it possible to circumvent basic Chip security functionality,
//    including message encryption. Because of this they MUST NEVER BE ENABLED IN PRODUCTION BUILDS.
//
// #define CHIP_CONFIG_SECURITY_TEST_MODE 0

/**
 * CHIP_DEVICE_CONFIG_DEVICE_VENDOR_ID
 *
 * The CHIP-assigned vendor id for the organization responsible for producing the device.
 *
 * Default is the Test VendorID of 0xFFF1.
 */
#ifndef CHIP_DEVICE_CONFIG_DEVICE_VENDOR_ID
#define CHIP_DEVICE_CONFIG_DEVICE_VENDOR_ID 0xFFF1
#endif

/**
 * CHIP_DEVICE_CONFIG_DEVICE_PRODUCT_ID
 *
 * The unique id assigned by the device vendor to identify the product or device type.  This
 * number is scoped to the device vendor id.
 */
#ifndef CHIP_DEVICE_CONFIG_DEVICE_PRODUCT_ID
#define CHIP_DEVICE_CONFIG_DEVICE_PRODUCT_ID 0x8001
#endif

/**
 * CHIP_DEVICE_CONFIG_DEVICE_VENDOR_NAME
 *
 * Human readable vendor name for the organization responsible for producing the device.
 */
#ifndef CHIP_DEVICE_CONFIG_DEVICE_VENDOR_NAME
#define CHIP_DEVICE_CONFIG_DEVICE_VENDOR_NAME "TEST_VENDOR"
#endif

/**
 * CHIP_DEVICE_CONFIG_DEVICE_PRODUCT_NAME
 *
 * Human readable name of the device model.
 */
#ifndef CHIP_DEVICE_CONFIG_DEVICE_PRODUCT_NAME
#define CHIP_DEVICE_CONFIG_DEVICE_PRODUCT_NAME "TEST_PRODUCT"
#endif

/**
 * CHIP_DEVICE_CONFIG_TEST_SERIAL_NUMBER
 *
 * Enables the use of a hard-coded default serial number.
 */
#ifndef CHIP_DEVICE_CONFIG_TEST_SERIAL_NUMBER
#define CHIP_DEVICE_CONFIG_TEST_SERIAL_NUMBER "TEST_SN"
#endif

/**
 * CHIP_DEVICE_CONFIG_DEFAULT_DEVICE_HARDWARE_VERSION
 *
 * The default hardware version number assigned to the device or product by the device vendor.
 *
 * Hardware versions are specific to a particular device vendor and product id, and typically
 * correspond to a revision of the physical device, a change to its packaging, and/or a change
 * to its marketing presentation. This value is generally *not* incremented for device software
 * revisions.
 */
#ifndef CHIP_DEVICE_CONFIG_DEFAULT_DEVICE_HARDWARE_VERSION
#define CHIP_DEVICE_CONFIG_DEFAULT_DEVICE_HARDWARE_VERSION 1
#endif

/**
 * CHIP_DEVICE_CONFIG_DEFAULT_DEVICE_HARDWARE_VERSION_STRING
 *
 * Human readable string identifying version of the product assigned by the device vendor.
 */
#ifndef CHIP_DEVICE_CONFIG_DEFAULT_DEVICE_HARDWARE_VERSION_STRING
#define CHIP_DEVICE_CONFIG_DEFAULT_DEVICE_HARDWARE_VERSION_STRING "1.0"
#endif

/**
 * CHIP_DEVICE_CONFIG_DEVICE_SOFTWARE_VERSION
 *
 * A monotonic number identifying the software version running on the device.
 */
#ifndef CHIP_DEVICE_CONFIG_DEVICE_SOFTWARE_VERSION
#define CHIP_DEVICE_CONFIG_DEVICE_SOFTWARE_VERSION 1
#endif

/**
 * CHIP_DEVICE_CONFIG_DEVICE_SOFTWARE_VERSION_STRING
 *
 * A string identifying the software version running on the device.
 */
#ifndef CHIP_DEVICE_CONFIG_DEVICE_SOFTWARE_VERSION_STRING
#define CHIP_DEVICE_CONFIG_DEVICE_SOFTWARE_VERSION_STRING "1.0"
#endif



//#define CHIP_CONFIG_ENABLE_SESSION_RESUMPTION 1
```

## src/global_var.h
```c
//
// Created by Kirill Shypachov on 18.09.2025.
//

#ifndef CEDAR_SWITCH_3IN3OUT_POWER_GLOBAL_VAR_H
#define CEDAR_SWITCH_3IN3OUT_POWER_GLOBAL_VAR_H

#include <stdbool.h>
#include <stddef.h>
#include <stdint.h>
#include "events/events.h"

#define base_web_ui_fs_path "/lfs/log"

#define MQTT_UNIC_IDENTIFIER_LENGTH     32
#define hw_ver                          "1.0"
#define sw_ver                          "1.0"

#define device_input_count              3
#define device_relay_count              4

#define mqtt_topik_max_len              128
#define mqtt_payload_max_len            700

#endif //CEDAR_SWITCH_3IN3OUT_POWER_GLOBAL_VAR_H
```

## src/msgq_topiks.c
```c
//
// Created by Kirill Shypachov on 22.09.2025.
//

#include "msgq_topiks.h"
#include <zephyr/kernel.h>

K_MSGQ_DEFINE(MQTT_MSGQ_TX, sizeof(mqtt_msg_t), 16, 4);
K_MSGQ_DEFINE(MQTT_MSGQ_RX, sizeof(mqtt_msg_t), 16, 4);
```

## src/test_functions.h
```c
//
// Created by Kirill Shypachov on 17.09.2025.
//

#ifndef CEDAR_SWITCH_3IN3OUT_POWER_TEST_FUNCTIONS_H
#define CEDAR_SWITCH_3IN3OUT_POWER_TEST_FUNCTIONS_H



//int fs_delete_tree(const char *path);
int create_index_html(void);
//void psram_probe(OSPI_HandleTypeDef *hospi);

#endif //CEDAR_SWITCH_3IN3OUT_POWER_TEST_FUNCTIONS_H
```
